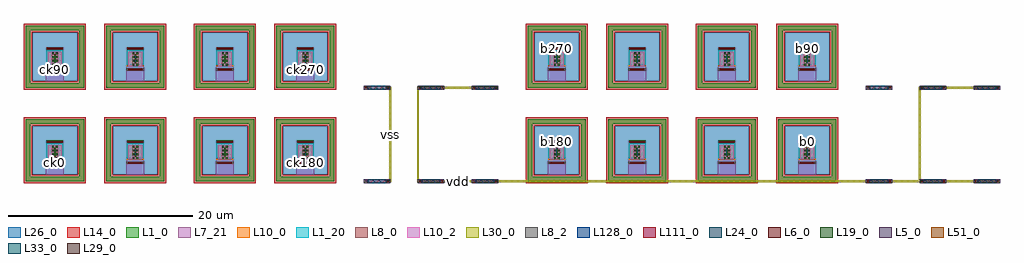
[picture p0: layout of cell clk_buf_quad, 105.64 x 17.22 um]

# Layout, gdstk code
from math import pi, radians
import gdstk
lib = gdstk.Library(unit=1e-6, precision=1e-09)
def R(c, l, rs):  # rectangles x0, y0, x1, y1
    for r in rs: c.add(gdstk.rectangle(r[:2], r[2:], *l))
def A(c, l, x, y, w, h, nx, ny, dx, dy):  # array of equal rectangles
    R(c, l, [(x+i*dx, y+j*dy, x+i*dx+w, y+j*dy+h) for i in range(nx) for j in range(ny)])
def P(c, l, *ps):  # polygons
    for p in ps: c.add(gdstk.Polygon(p, *l))
L1_0 = (1, 0)
L1_20 = (1, 20)
L5_0 = (5, 0)
L6_0 = (6, 0)
L7_21 = (7, 21)
L8_0 = (8, 0)
L8_2 = (8, 2)
L10_0 = (10, 0)
L10_2 = (10, 2)
L14_0 = (14, 0)
L19_0 = (19, 0)
L24_0 = (24, 0)
L26_0 = (26, 0)
L29_0 = (29, 0)
L30_0 = (30, 0)
L33_0 = (33, 0)
L51_0 = (51, 0)
L111_0 = (111, 0)
L128_0 = (128, 0)

npn13g2_base_cdns_675179 = lib.new_cell('npn13G2_base_CDNS_675179387640')
R(npn13g2_base_cdns_675179, L1_0, [(-0.925,-1.28,0.925,-0.98)])
P(npn13g2_base_cdns_675179, L1_20, [(-0.925,-0.98),(-0.925,0.62),(-0.445,0.62),(-0.235,0.83),(0.235,0.83),(0.445,0.62),(0.925,0.62),(0.925,-0.98)])
R(npn13g2_base_cdns_675179, L6_0, [(-0.825,-1.21,0.825,-1.05), (-0.76,1.06,0.76,1.22)])
P(npn13g2_base_cdns_675179, L7_21, [(-0.305,-0.94),(-0.555,-0.69),(-0.555,0.48),(-0.975,0.9),(-0.975,2.43),(0.975,2.43),(0.975,0.9),(0.555,0.48),(0.555,-0.69),(0.305,-0.94)])
R(npn13g2_base_cdns_675179, L8_0, [(-0.925,-1.25,0.925,-1.01), (-0.35,-0.77,0.35,0.785), (-0.975,1.02,0.975,1.26)])
R(npn13g2_base_cdns_675179, L10_0, [(-0.925,-0.77,0.925,0.785)])
A(npn13g2_base_cdns_675179, L19_0, -0.3, -0.7, 0.19, 0.19, 1, 4, 0, 0.41)
A(npn13g2_base_cdns_675179, L19_0, 0.11, -0.7, 0.19, 0.19, 1, 4, 0, 0.41)
R(npn13g2_base_cdns_675179, L33_0, [(-0.035,-0.45,0.035,0.45), (-0.035,-0.45,0.035,0.45)])
R(npn13g2_base_cdns_675179, L51_0, [(-0.085,-0.5,0.085,0.5)])
npn13g2_base_cdns_675179.add(gdstk.Label('npn13G2', (0.015,-2.31), layer=63, texttype=0))
npn13g2_base_cdns_675179.add(gdstk.Label('npn13G2_base', (0,0), layer=51, texttype=0))

npn13g2 = lib.new_cell('npn13G2')
P(npn13g2, L1_0, [(-3.15,-3.13),(-3.15,3.58),(2.65,3.58),(2.65,3.08),(-2.65,3.08),(-2.65,-2.63),(2.65,-2.63),(2.65,3.58),(3.15,3.58),(3.15,-3.13)])
R(npn13g2, L8_2, [(-0.965,-1.26,0.975,-1.02), (-0.915,1.01,0.925,1.25)])
R(npn13g2, L10_2, [(-0.745,-0.78,0.745,0.77)])
P(npn13g2, L14_0, [(-3.35,-3.33),(-3.35,3.78),(2.45,3.78),(2.45,2.88),(-2.45,2.88),(-2.45,-2.43),(2.45,-2.43),(2.45,3.78),(3.35,3.78),(3.35,-3.33)])
R(npn13g2, L26_0, [(-2.45,-2.43,2.45,2.88)])
npn13g2.add(gdstk.Reference(npn13g2_base_cdns_675179, (0,0), x_reflection=True))
npn13g2.add(gdstk.Label('Ae=1*1*0.07*0.90', (-1.977,-2.546), layer=63, texttype=0))
npn13g2.add(gdstk.Label('E', (0,-0.005), layer=63, texttype=0))
npn13g2.add(gdstk.Label('B', (0.005,-1.14), layer=63, texttype=0))
npn13g2.add(gdstk.Label('C', (0.005,1.13), layer=63, texttype=0))

xqi1a__clk_buf_quad_xqi1 = lib.new_cell('XQi1a__clk_buf_quad_XQi1a')
xqi1a__clk_buf_quad_xqi1.add(gdstk.Reference(npn13g2, (3.35,3.33)))
xqi1a__clk_buf_quad_xqi1.add(gdstk.Reference(npn13g2, (12.05,3.33)))

c_npn13g2_base_cdns_675179 = lib.new_cell('npn13G2_base_CDNS_675179387640$1')
R(c_npn13g2_base_cdns_675179, L1_0, [(-0.925,-1.28,0.925,-0.98)])
P(c_npn13g2_base_cdns_675179, L1_20, [(-0.925,-0.98),(-0.925,0.62),(-0.445,0.62),(-0.235,0.83),(0.235,0.83),(0.445,0.62),(0.925,0.62),(0.925,-0.98)])
R(c_npn13g2_base_cdns_675179, L6_0, [(-0.825,-1.21,0.825,-1.05), (-0.76,1.06,0.76,1.22)])
P(c_npn13g2_base_cdns_675179, L7_21, [(-0.305,-0.94),(-0.555,-0.69),(-0.555,0.48),(-0.975,0.9),(-0.975,2.43),(0.975,2.43),(0.975,0.9),(0.555,0.48),(0.555,-0.69),(0.305,-0.94)])
R(c_npn13g2_base_cdns_675179, L8_0, [(-0.925,-1.25,0.925,-1.01), (-0.35,-0.77,0.35,0.785), (-0.975,1.02,0.975,1.26)])
R(c_npn13g2_base_cdns_675179, L10_0, [(-0.925,-0.77,0.925,0.785)])
A(c_npn13g2_base_cdns_675179, L19_0, -0.3, -0.7, 0.19, 0.19, 1, 4, 0, 0.41)
A(c_npn13g2_base_cdns_675179, L19_0, 0.11, -0.7, 0.19, 0.19, 1, 4, 0, 0.41)
R(c_npn13g2_base_cdns_675179, L33_0, [(-0.035,-0.45,0.035,0.45), (-0.035,-0.45,0.035,0.45)])
R(c_npn13g2_base_cdns_675179, L51_0, [(-0.085,-0.5,0.085,0.5)])
c_npn13g2_base_cdns_675179.add(gdstk.Label('npn13G2', (0.015,-2.31), layer=63, texttype=0))
c_npn13g2_base_cdns_675179.add(gdstk.Label('npn13G2_base', (0,0), layer=51, texttype=0))

npn13g2_1 = lib.new_cell('npn13G2$1')
P(npn13g2_1, L1_0, [(-3.15,-3.13),(-3.15,3.58),(2.65,3.58),(2.65,3.08),(-2.65,3.08),(-2.65,-2.63),(2.65,-2.63),(2.65,3.58),(3.15,3.58),(3.15,-3.13)])
R(npn13g2_1, L8_2, [(-0.965,-1.26,0.975,-1.02), (-0.915,1.01,0.925,1.25)])
R(npn13g2_1, L10_2, [(-0.745,-0.78,0.745,0.77)])
P(npn13g2_1, L14_0, [(-3.35,-3.33),(-3.35,3.78),(2.45,3.78),(2.45,2.88),(-2.45,2.88),(-2.45,-2.43),(2.45,-2.43),(2.45,3.78),(3.35,3.78),(3.35,-3.33)])
R(npn13g2_1, L26_0, [(-2.45,-2.43,2.45,2.88)])
npn13g2_1.add(gdstk.Reference(c_npn13g2_base_cdns_675179, (0,0), x_reflection=True))
npn13g2_1.add(gdstk.Label('Ae=1*1*0.07*0.90', (-1.977,-2.546), layer=63, texttype=0))
npn13g2_1.add(gdstk.Label('E', (0,-0.005), layer=63, texttype=0))
npn13g2_1.add(gdstk.Label('B', (0.005,-1.14), layer=63, texttype=0))
npn13g2_1.add(gdstk.Label('C', (0.005,1.13), layer=63, texttype=0))

xqi1b__clk_buf_quad_xqi1 = lib.new_cell('XQi1b__clk_buf_quad_XQi1b')
xqi1b__clk_buf_quad_xqi1.add(gdstk.Reference(npn13g2_1, (3.35,3.33)))
xqi1b__clk_buf_quad_xqi1.add(gdstk.Reference(npn13g2_1, (12.05,3.33)))

clk_buf_quad_rti1__core = lib.new_cell('clk_buf_quad_Rti1__core')
R(clk_buf_quad_rti1__core, L5_0, [(0,0,0.42,0.42), (2.42,0,2.84,0.42)])
R(clk_buf_quad_rti1__core, L6_0, [(0.13,0.13,0.29,0.29), (2.55,0.13,2.71,0.29)])
R(clk_buf_quad_rti1__core, L8_0, [(0,0,0.42,0.42), (2.42,0,2.84,0.42)])
R(clk_buf_quad_rti1__core, L24_0, [(0.42,0,2.42,0.42)])
R(clk_buf_quad_rti1__core, L111_0, [(0.42,0,2.42,0.42)])
R(clk_buf_quad_rti1__core, L128_0, [(0.42,0,2.42,0.42)])

rti1__clk_buf_quad_rti1 = lib.new_cell('Rti1__clk_buf_quad_Rti1')
rti1__clk_buf_quad_rti1.add(gdstk.Reference(clk_buf_quad_rti1__core, (0,0)))

clk_buf_quad_rli1a__core = lib.new_cell('clk_buf_quad_RLi1a__core')
R(clk_buf_quad_rli1a__core, L5_0, [(0,0,0.42,0.42), (2.42,0,2.84,0.42)])
R(clk_buf_quad_rli1a__core, L6_0, [(0.13,0.13,0.29,0.29), (2.55,0.13,2.71,0.29)])
R(clk_buf_quad_rli1a__core, L8_0, [(0,0,0.42,0.42), (2.42,0,2.84,0.42)])
R(clk_buf_quad_rli1a__core, L24_0, [(0.42,0,2.42,0.42)])
R(clk_buf_quad_rli1a__core, L111_0, [(0.42,0,2.42,0.42)])
R(clk_buf_quad_rli1a__core, L128_0, [(0.42,0,2.42,0.42)])

rli1a__clk_buf_quad_rli1 = lib.new_cell('RLi1a__clk_buf_quad_RLi1a')
rli1a__clk_buf_quad_rli1.add(gdstk.Reference(clk_buf_quad_rli1a__core, (0,0)))

clk_buf_quad_rli1b__core = lib.new_cell('clk_buf_quad_RLi1b__core')
R(clk_buf_quad_rli1b__core, L5_0, [(0,0,0.42,0.42), (2.42,0,2.84,0.42)])
R(clk_buf_quad_rli1b__core, L6_0, [(0.13,0.13,0.29,0.29), (2.55,0.13,2.71,0.29)])
R(clk_buf_quad_rli1b__core, L8_0, [(0,0,0.42,0.42), (2.42,0,2.84,0.42)])
R(clk_buf_quad_rli1b__core, L24_0, [(0.42,0,2.42,0.42)])
R(clk_buf_quad_rli1b__core, L111_0, [(0.42,0,2.42,0.42)])
R(clk_buf_quad_rli1b__core, L128_0, [(0.42,0,2.42,0.42)])

rli1b__clk_buf_quad_rli1 = lib.new_cell('RLi1b__clk_buf_quad_RLi1b')
rli1b__clk_buf_quad_rli1.add(gdstk.Reference(clk_buf_quad_rli1b__core, (0,0)))

c_npn13g2_base_cdns_675179_ = lib.new_cell('npn13G2_base_CDNS_675179387640$2')
R(c_npn13g2_base_cdns_675179_, L1_0, [(-0.925,-1.28,0.925,-0.98)])
P(c_npn13g2_base_cdns_675179_, L1_20, [(-0.925,-0.98),(-0.925,0.62),(-0.445,0.62),(-0.235,0.83),(0.235,0.83),(0.445,0.62),(0.925,0.62),(0.925,-0.98)])
R(c_npn13g2_base_cdns_675179_, L6_0, [(-0.825,-1.21,0.825,-1.05), (-0.76,1.06,0.76,1.22)])
P(c_npn13g2_base_cdns_675179_, L7_21, [(-0.305,-0.94),(-0.555,-0.69),(-0.555,0.48),(-0.975,0.9),(-0.975,2.43),(0.975,2.43),(0.975,0.9),(0.555,0.48),(0.555,-0.69),(0.305,-0.94)])
R(c_npn13g2_base_cdns_675179_, L8_0, [(-0.925,-1.25,0.925,-1.01), (-0.35,-0.77,0.35,0.785), (-0.975,1.02,0.975,1.26)])
R(c_npn13g2_base_cdns_675179_, L10_0, [(-0.925,-0.77,0.925,0.785)])
A(c_npn13g2_base_cdns_675179_, L19_0, -0.3, -0.7, 0.19, 0.19, 1, 4, 0, 0.41)
A(c_npn13g2_base_cdns_675179_, L19_0, 0.11, -0.7, 0.19, 0.19, 1, 4, 0, 0.41)
R(c_npn13g2_base_cdns_675179_, L33_0, [(-0.035,-0.45,0.035,0.45), (-0.035,-0.45,0.035,0.45)])
R(c_npn13g2_base_cdns_675179_, L51_0, [(-0.085,-0.5,0.085,0.5)])
c_npn13g2_base_cdns_675179_.add(gdstk.Label('npn13G2', (0.015,-2.31), layer=63, texttype=0))
c_npn13g2_base_cdns_675179_.add(gdstk.Label('npn13G2_base', (0,0), layer=51, texttype=0))

npn13g2_2 = lib.new_cell('npn13G2$2')
P(npn13g2_2, L1_0, [(-3.15,-3.13),(-3.15,3.58),(2.65,3.58),(2.65,3.08),(-2.65,3.08),(-2.65,-2.63),(2.65,-2.63),(2.65,3.58),(3.15,3.58),(3.15,-3.13)])
R(npn13g2_2, L8_2, [(-0.965,-1.26,0.975,-1.02), (-0.915,1.01,0.925,1.25)])
R(npn13g2_2, L10_2, [(-0.745,-0.78,0.745,0.77)])
P(npn13g2_2, L14_0, [(-3.35,-3.33),(-3.35,3.78),(2.45,3.78),(2.45,2.88),(-2.45,2.88),(-2.45,-2.43),(2.45,-2.43),(2.45,3.78),(3.35,3.78),(3.35,-3.33)])
R(npn13g2_2, L26_0, [(-2.45,-2.43,2.45,2.88)])
npn13g2_2.add(gdstk.Reference(c_npn13g2_base_cdns_675179_, (0,0), x_reflection=True))
npn13g2_2.add(gdstk.Label('Ae=1*1*0.07*0.90', (-1.977,-2.546), layer=63, texttype=0))
npn13g2_2.add(gdstk.Label('E', (0,-0.005), layer=63, texttype=0))
npn13g2_2.add(gdstk.Label('B', (0.005,-1.14), layer=63, texttype=0))
npn13g2_2.add(gdstk.Label('C', (0.005,1.13), layer=63, texttype=0))

xqi2a__clk_buf_quad_xqi2 = lib.new_cell('XQi2a__clk_buf_quad_XQi2a')
xqi2a__clk_buf_quad_xqi2.add(gdstk.Reference(npn13g2_2, (3.35,3.33)))
xqi2a__clk_buf_quad_xqi2.add(gdstk.Reference(npn13g2_2, (12.05,3.33)))

c_npn13g2_base_cdns_675179__ = lib.new_cell('npn13G2_base_CDNS_675179387640$3')
R(c_npn13g2_base_cdns_675179__, L1_0, [(-0.925,-1.28,0.925,-0.98)])
P(c_npn13g2_base_cdns_675179__, L1_20, [(-0.925,-0.98),(-0.925,0.62),(-0.445,0.62),(-0.235,0.83),(0.235,0.83),(0.445,0.62),(0.925,0.62),(0.925,-0.98)])
R(c_npn13g2_base_cdns_675179__, L6_0, [(-0.825,-1.21,0.825,-1.05), (-0.76,1.06,0.76,1.22)])
P(c_npn13g2_base_cdns_675179__, L7_21, [(-0.305,-0.94),(-0.555,-0.69),(-0.555,0.48),(-0.975,0.9),(-0.975,2.43),(0.975,2.43),(0.975,0.9),(0.555,0.48),(0.555,-0.69),(0.305,-0.94)])
R(c_npn13g2_base_cdns_675179__, L8_0, [(-0.925,-1.25,0.925,-1.01), (-0.35,-0.77,0.35,0.785), (-0.975,1.02,0.975,1.26)])
R(c_npn13g2_base_cdns_675179__, L10_0, [(-0.925,-0.77,0.925,0.785)])
A(c_npn13g2_base_cdns_675179__, L19_0, -0.3, -0.7, 0.19, 0.19, 1, 4, 0, 0.41)
A(c_npn13g2_base_cdns_675179__, L19_0, 0.11, -0.7, 0.19, 0.19, 1, 4, 0, 0.41)
R(c_npn13g2_base_cdns_675179__, L33_0, [(-0.035,-0.45,0.035,0.45), (-0.035,-0.45,0.035,0.45)])
R(c_npn13g2_base_cdns_675179__, L51_0, [(-0.085,-0.5,0.085,0.5)])
c_npn13g2_base_cdns_675179__.add(gdstk.Label('npn13G2', (0.015,-2.31), layer=63, texttype=0))
c_npn13g2_base_cdns_675179__.add(gdstk.Label('npn13G2_base', (0,0), layer=51, texttype=0))

npn13g2_3 = lib.new_cell('npn13G2$3')
P(npn13g2_3, L1_0, [(-3.15,-3.13),(-3.15,3.58),(2.65,3.58),(2.65,3.08),(-2.65,3.08),(-2.65,-2.63),(2.65,-2.63),(2.65,3.58),(3.15,3.58),(3.15,-3.13)])
R(npn13g2_3, L8_2, [(-0.965,-1.26,0.975,-1.02), (-0.915,1.01,0.925,1.25)])
R(npn13g2_3, L10_2, [(-0.745,-0.78,0.745,0.77)])
P(npn13g2_3, L14_0, [(-3.35,-3.33),(-3.35,3.78),(2.45,3.78),(2.45,2.88),(-2.45,2.88),(-2.45,-2.43),(2.45,-2.43),(2.45,3.78),(3.35,3.78),(3.35,-3.33)])
R(npn13g2_3, L26_0, [(-2.45,-2.43,2.45,2.88)])
npn13g2_3.add(gdstk.Reference(c_npn13g2_base_cdns_675179__, (0,0), x_reflection=True))
npn13g2_3.add(gdstk.Label('Ae=1*1*0.07*0.90', (-1.977,-2.546), layer=63, texttype=0))
npn13g2_3.add(gdstk.Label('E', (0,-0.005), layer=63, texttype=0))
npn13g2_3.add(gdstk.Label('B', (0.005,-1.14), layer=63, texttype=0))
npn13g2_3.add(gdstk.Label('C', (0.005,1.13), layer=63, texttype=0))

xqi2b__clk_buf_quad_xqi2 = lib.new_cell('XQi2b__clk_buf_quad_XQi2b')
xqi2b__clk_buf_quad_xqi2.add(gdstk.Reference(npn13g2_3, (3.35,3.33)))
xqi2b__clk_buf_quad_xqi2.add(gdstk.Reference(npn13g2_3, (12.05,3.33)))

clk_buf_quad_rti2__core = lib.new_cell('clk_buf_quad_Rti2__core')
R(clk_buf_quad_rti2__core, L5_0, [(0,0,0.42,0.42), (2.42,0,2.84,0.42)])
R(clk_buf_quad_rti2__core, L6_0, [(0.13,0.13,0.29,0.29), (2.55,0.13,2.71,0.29)])
R(clk_buf_quad_rti2__core, L8_0, [(0,0,0.42,0.42), (2.42,0,2.84,0.42)])
R(clk_buf_quad_rti2__core, L24_0, [(0.42,0,2.42,0.42)])
R(clk_buf_quad_rti2__core, L111_0, [(0.42,0,2.42,0.42)])
R(clk_buf_quad_rti2__core, L128_0, [(0.42,0,2.42,0.42)])

rti2__clk_buf_quad_rti2 = lib.new_cell('Rti2__clk_buf_quad_Rti2')
rti2__clk_buf_quad_rti2.add(gdstk.Reference(clk_buf_quad_rti2__core, (0,0)))

clk_buf_quad_rli2a__core = lib.new_cell('clk_buf_quad_RLi2a__core')
R(clk_buf_quad_rli2a__core, L5_0, [(0,0,0.42,0.42), (2.42,0,2.84,0.42)])
R(clk_buf_quad_rli2a__core, L6_0, [(0.13,0.13,0.29,0.29), (2.55,0.13,2.71,0.29)])
R(clk_buf_quad_rli2a__core, L8_0, [(0,0,0.42,0.42), (2.42,0,2.84,0.42)])
R(clk_buf_quad_rli2a__core, L24_0, [(0.42,0,2.42,0.42)])
R(clk_buf_quad_rli2a__core, L111_0, [(0.42,0,2.42,0.42)])
R(clk_buf_quad_rli2a__core, L128_0, [(0.42,0,2.42,0.42)])

rli2a__clk_buf_quad_rli2 = lib.new_cell('RLi2a__clk_buf_quad_RLi2a')
rli2a__clk_buf_quad_rli2.add(gdstk.Reference(clk_buf_quad_rli2a__core, (0,0)))

clk_buf_quad_rli2b__core = lib.new_cell('clk_buf_quad_RLi2b__core')
R(clk_buf_quad_rli2b__core, L5_0, [(0,0,0.42,0.42), (2.42,0,2.84,0.42)])
R(clk_buf_quad_rli2b__core, L6_0, [(0.13,0.13,0.29,0.29), (2.55,0.13,2.71,0.29)])
R(clk_buf_quad_rli2b__core, L8_0, [(0,0,0.42,0.42), (2.42,0,2.84,0.42)])
R(clk_buf_quad_rli2b__core, L24_0, [(0.42,0,2.42,0.42)])
R(clk_buf_quad_rli2b__core, L111_0, [(0.42,0,2.42,0.42)])
R(clk_buf_quad_rli2b__core, L128_0, [(0.42,0,2.42,0.42)])

rli2b__clk_buf_quad_rli2 = lib.new_cell('RLi2b__clk_buf_quad_RLi2b')
rli2b__clk_buf_quad_rli2.add(gdstk.Reference(clk_buf_quad_rli2b__core, (0,0)))

c_npn13g2_base_cdns_675179___ = lib.new_cell('npn13G2_base_CDNS_675179387640$4')
R(c_npn13g2_base_cdns_675179___, L1_0, [(-0.925,-1.28,0.925,-0.98)])
P(c_npn13g2_base_cdns_675179___, L1_20, [(-0.925,-0.98),(-0.925,0.62),(-0.445,0.62),(-0.235,0.83),(0.235,0.83),(0.445,0.62),(0.925,0.62),(0.925,-0.98)])
R(c_npn13g2_base_cdns_675179___, L6_0, [(-0.825,-1.21,0.825,-1.05), (-0.76,1.06,0.76,1.22)])
P(c_npn13g2_base_cdns_675179___, L7_21, [(-0.305,-0.94),(-0.555,-0.69),(-0.555,0.48),(-0.975,0.9),(-0.975,2.43),(0.975,2.43),(0.975,0.9),(0.555,0.48),(0.555,-0.69),(0.305,-0.94)])
R(c_npn13g2_base_cdns_675179___, L8_0, [(-0.925,-1.25,0.925,-1.01), (-0.35,-0.77,0.35,0.785), (-0.975,1.02,0.975,1.26)])
R(c_npn13g2_base_cdns_675179___, L10_0, [(-0.925,-0.77,0.925,0.785)])
A(c_npn13g2_base_cdns_675179___, L19_0, -0.3, -0.7, 0.19, 0.19, 1, 4, 0, 0.41)
A(c_npn13g2_base_cdns_675179___, L19_0, 0.11, -0.7, 0.19, 0.19, 1, 4, 0, 0.41)
R(c_npn13g2_base_cdns_675179___, L33_0, [(-0.035,-0.45,0.035,0.45), (-0.035,-0.45,0.035,0.45)])
R(c_npn13g2_base_cdns_675179___, L51_0, [(-0.085,-0.5,0.085,0.5)])
c_npn13g2_base_cdns_675179___.add(gdstk.Label('npn13G2', (0.015,-2.31), layer=63, texttype=0))
c_npn13g2_base_cdns_675179___.add(gdstk.Label('npn13G2_base', (0,0), layer=51, texttype=0))

npn13g2_4 = lib.new_cell('npn13G2$4')
P(npn13g2_4, L1_0, [(-3.15,-3.13),(-3.15,3.58),(2.65,3.58),(2.65,3.08),(-2.65,3.08),(-2.65,-2.63),(2.65,-2.63),(2.65,3.58),(3.15,3.58),(3.15,-3.13)])
R(npn13g2_4, L8_2, [(-0.965,-1.26,0.975,-1.02), (-0.915,1.01,0.925,1.25)])
R(npn13g2_4, L10_2, [(-0.745,-0.78,0.745,0.77)])
P(npn13g2_4, L14_0, [(-3.35,-3.33),(-3.35,3.78),(2.45,3.78),(2.45,2.88),(-2.45,2.88),(-2.45,-2.43),(2.45,-2.43),(2.45,3.78),(3.35,3.78),(3.35,-3.33)])
R(npn13g2_4, L26_0, [(-2.45,-2.43,2.45,2.88)])
npn13g2_4.add(gdstk.Reference(c_npn13g2_base_cdns_675179___, (0,0), x_reflection=True))
npn13g2_4.add(gdstk.Label('Ae=1*1*0.07*0.90', (-1.977,-2.546), layer=63, texttype=0))
npn13g2_4.add(gdstk.Label('E', (0,-0.005), layer=63, texttype=0))
npn13g2_4.add(gdstk.Label('B', (0.005,-1.14), layer=63, texttype=0))
npn13g2_4.add(gdstk.Label('C', (0.005,1.13), layer=63, texttype=0))

xqq1a__clk_buf_quad_xqq1 = lib.new_cell('XQq1a__clk_buf_quad_XQq1a')
xqq1a__clk_buf_quad_xqq1.add(gdstk.Reference(npn13g2_4, (3.35,3.33)))
xqq1a__clk_buf_quad_xqq1.add(gdstk.Reference(npn13g2_4, (12.05,3.33)))

c_npn13g2_base_cdns_675179____ = lib.new_cell('npn13G2_base_CDNS_675179387640$5')
R(c_npn13g2_base_cdns_675179____, L1_0, [(-0.925,-1.28,0.925,-0.98)])
P(c_npn13g2_base_cdns_675179____, L1_20, [(-0.925,-0.98),(-0.925,0.62),(-0.445,0.62),(-0.235,0.83),(0.235,0.83),(0.445,0.62),(0.925,0.62),(0.925,-0.98)])
R(c_npn13g2_base_cdns_675179____, L6_0, [(-0.825,-1.21,0.825,-1.05), (-0.76,1.06,0.76,1.22)])
P(c_npn13g2_base_cdns_675179____, L7_21, [(-0.305,-0.94),(-0.555,-0.69),(-0.555,0.48),(-0.975,0.9),(-0.975,2.43),(0.975,2.43),(0.975,0.9),(0.555,0.48),(0.555,-0.69),(0.305,-0.94)])
R(c_npn13g2_base_cdns_675179____, L8_0, [(-0.925,-1.25,0.925,-1.01), (-0.35,-0.77,0.35,0.785), (-0.975,1.02,0.975,1.26)])
R(c_npn13g2_base_cdns_675179____, L10_0, [(-0.925,-0.77,0.925,0.785)])
A(c_npn13g2_base_cdns_675179____, L19_0, -0.3, -0.7, 0.19, 0.19, 1, 4, 0, 0.41)
A(c_npn13g2_base_cdns_675179____, L19_0, 0.11, -0.7, 0.19, 0.19, 1, 4, 0, 0.41)
R(c_npn13g2_base_cdns_675179____, L33_0, [(-0.035,-0.45,0.035,0.45), (-0.035,-0.45,0.035,0.45)])
R(c_npn13g2_base_cdns_675179____, L51_0, [(-0.085,-0.5,0.085,0.5)])
c_npn13g2_base_cdns_675179____.add(gdstk.Label('npn13G2', (0.015,-2.31), layer=63, texttype=0))
c_npn13g2_base_cdns_675179____.add(gdstk.Label('npn13G2_base', (0,0), layer=51, texttype=0))

npn13g2_5 = lib.new_cell('npn13G2$5')
P(npn13g2_5, L1_0, [(-3.15,-3.13),(-3.15,3.58),(2.65,3.58),(2.65,3.08),(-2.65,3.08),(-2.65,-2.63),(2.65,-2.63),(2.65,3.58),(3.15,3.58),(3.15,-3.13)])
R(npn13g2_5, L8_2, [(-0.965,-1.26,0.975,-1.02), (-0.915,1.01,0.925,1.25)])
R(npn13g2_5, L10_2, [(-0.745,-0.78,0.745,0.77)])
P(npn13g2_5, L14_0, [(-3.35,-3.33),(-3.35,3.78),(2.45,3.78),(2.45,2.88),(-2.45,2.88),(-2.45,-2.43),(2.45,-2.43),(2.45,3.78),(3.35,3.78),(3.35,-3.33)])
R(npn13g2_5, L26_0, [(-2.45,-2.43,2.45,2.88)])
npn13g2_5.add(gdstk.Reference(c_npn13g2_base_cdns_675179____, (0,0), x_reflection=True))
npn13g2_5.add(gdstk.Label('Ae=1*1*0.07*0.90', (-1.977,-2.546), layer=63, texttype=0))
npn13g2_5.add(gdstk.Label('E', (0,-0.005), layer=63, texttype=0))
npn13g2_5.add(gdstk.Label('B', (0.005,-1.14), layer=63, texttype=0))
npn13g2_5.add(gdstk.Label('C', (0.005,1.13), layer=63, texttype=0))

xqq1b__clk_buf_quad_xqq1 = lib.new_cell('XQq1b__clk_buf_quad_XQq1b')
xqq1b__clk_buf_quad_xqq1.add(gdstk.Reference(npn13g2_5, (3.35,3.33)))
xqq1b__clk_buf_quad_xqq1.add(gdstk.Reference(npn13g2_5, (12.05,3.33)))

clk_buf_quad_rtq1__core = lib.new_cell('clk_buf_quad_Rtq1__core')
R(clk_buf_quad_rtq1__core, L5_0, [(0,0,0.42,0.42), (2.42,0,2.84,0.42)])
R(clk_buf_quad_rtq1__core, L6_0, [(0.13,0.13,0.29,0.29), (2.55,0.13,2.71,0.29)])
R(clk_buf_quad_rtq1__core, L8_0, [(0,0,0.42,0.42), (2.42,0,2.84,0.42)])
R(clk_buf_quad_rtq1__core, L24_0, [(0.42,0,2.42,0.42)])
R(clk_buf_quad_rtq1__core, L111_0, [(0.42,0,2.42,0.42)])
R(clk_buf_quad_rtq1__core, L128_0, [(0.42,0,2.42,0.42)])

rtq1__clk_buf_quad_rtq1 = lib.new_cell('Rtq1__clk_buf_quad_Rtq1')
rtq1__clk_buf_quad_rtq1.add(gdstk.Reference(clk_buf_quad_rtq1__core, (0,0)))

clk_buf_quad_rlq1a__core = lib.new_cell('clk_buf_quad_RLq1a__core')
R(clk_buf_quad_rlq1a__core, L5_0, [(0,0,0.42,0.42), (2.42,0,2.84,0.42)])
R(clk_buf_quad_rlq1a__core, L6_0, [(0.13,0.13,0.29,0.29), (2.55,0.13,2.71,0.29)])
R(clk_buf_quad_rlq1a__core, L8_0, [(0,0,0.42,0.42), (2.42,0,2.84,0.42)])
R(clk_buf_quad_rlq1a__core, L24_0, [(0.42,0,2.42,0.42)])
R(clk_buf_quad_rlq1a__core, L111_0, [(0.42,0,2.42,0.42)])
R(clk_buf_quad_rlq1a__core, L128_0, [(0.42,0,2.42,0.42)])

rlq1a__clk_buf_quad_rlq1 = lib.new_cell('RLq1a__clk_buf_quad_RLq1a')
rlq1a__clk_buf_quad_rlq1.add(gdstk.Reference(clk_buf_quad_rlq1a__core, (0,0)))

clk_buf_quad_rlq1b__core = lib.new_cell('clk_buf_quad_RLq1b__core')
R(clk_buf_quad_rlq1b__core, L5_0, [(0,0,0.42,0.42), (2.42,0,2.84,0.42)])
R(clk_buf_quad_rlq1b__core, L6_0, [(0.13,0.13,0.29,0.29), (2.55,0.13,2.71,0.29)])
R(clk_buf_quad_rlq1b__core, L8_0, [(0,0,0.42,0.42), (2.42,0,2.84,0.42)])
R(clk_buf_quad_rlq1b__core, L24_0, [(0.42,0,2.42,0.42)])
R(clk_buf_quad_rlq1b__core, L111_0, [(0.42,0,2.42,0.42)])
R(clk_buf_quad_rlq1b__core, L128_0, [(0.42,0,2.42,0.42)])

rlq1b__clk_buf_quad_rlq1 = lib.new_cell('RLq1b__clk_buf_quad_RLq1b')
rlq1b__clk_buf_quad_rlq1.add(gdstk.Reference(clk_buf_quad_rlq1b__core, (0,0)))

c_npn13g2_base_cdns_675179_____ = lib.new_cell('npn13G2_base_CDNS_675179387640$6')
R(c_npn13g2_base_cdns_675179_____, L1_0, [(-0.925,-1.28,0.925,-0.98)])
P(c_npn13g2_base_cdns_675179_____, L1_20, [(-0.925,-0.98),(-0.925,0.62),(-0.445,0.62),(-0.235,0.83),(0.235,0.83),(0.445,0.62),(0.925,0.62),(0.925,-0.98)])
R(c_npn13g2_base_cdns_675179_____, L6_0, [(-0.825,-1.21,0.825,-1.05), (-0.76,1.06,0.76,1.22)])
P(c_npn13g2_base_cdns_675179_____, L7_21, [(-0.305,-0.94),(-0.555,-0.69),(-0.555,0.48),(-0.975,0.9),(-0.975,2.43),(0.975,2.43),(0.975,0.9),(0.555,0.48),(0.555,-0.69),(0.305,-0.94)])
R(c_npn13g2_base_cdns_675179_____, L8_0, [(-0.925,-1.25,0.925,-1.01), (-0.35,-0.77,0.35,0.785), (-0.975,1.02,0.975,1.26)])
R(c_npn13g2_base_cdns_675179_____, L10_0, [(-0.925,-0.77,0.925,0.785)])
A(c_npn13g2_base_cdns_675179_____, L19_0, -0.3, -0.7, 0.19, 0.19, 1, 4, 0, 0.41)
A(c_npn13g2_base_cdns_675179_____, L19_0, 0.11, -0.7, 0.19, 0.19, 1, 4, 0, 0.41)
R(c_npn13g2_base_cdns_675179_____, L33_0, [(-0.035,-0.45,0.035,0.45), (-0.035,-0.45,0.035,0.45)])
R(c_npn13g2_base_cdns_675179_____, L51_0, [(-0.085,-0.5,0.085,0.5)])
c_npn13g2_base_cdns_675179_____.add(gdstk.Label('npn13G2', (0.015,-2.31), layer=63, texttype=0))
c_npn13g2_base_cdns_675179_____.add(gdstk.Label('npn13G2_base', (0,0), layer=51, texttype=0))

npn13g2_6 = lib.new_cell('npn13G2$6')
P(npn13g2_6, L1_0, [(-3.15,-3.13),(-3.15,3.58),(2.65,3.58),(2.65,3.08),(-2.65,3.08),(-2.65,-2.63),(2.65,-2.63),(2.65,3.58),(3.15,3.58),(3.15,-3.13)])
R(npn13g2_6, L8_2, [(-0.965,-1.26,0.975,-1.02), (-0.915,1.01,0.925,1.25)])
R(npn13g2_6, L10_2, [(-0.745,-0.78,0.745,0.77)])
P(npn13g2_6, L14_0, [(-3.35,-3.33),(-3.35,3.78),(2.45,3.78),(2.45,2.88),(-2.45,2.88),(-2.45,-2.43),(2.45,-2.43),(2.45,3.78),(3.35,3.78),(3.35,-3.33)])
R(npn13g2_6, L26_0, [(-2.45,-2.43,2.45,2.88)])
npn13g2_6.add(gdstk.Reference(c_npn13g2_base_cdns_675179_____, (0,0), x_reflection=True))
npn13g2_6.add(gdstk.Label('Ae=1*1*0.07*0.90', (-1.977,-2.546), layer=63, texttype=0))
npn13g2_6.add(gdstk.Label('E', (0,-0.005), layer=63, texttype=0))
npn13g2_6.add(gdstk.Label('B', (0.005,-1.14), layer=63, texttype=0))
npn13g2_6.add(gdstk.Label('C', (0.005,1.13), layer=63, texttype=0))

xqq2a__clk_buf_quad_xqq2 = lib.new_cell('XQq2a__clk_buf_quad_XQq2a')
xqq2a__clk_buf_quad_xqq2.add(gdstk.Reference(npn13g2_6, (3.35,3.33)))
xqq2a__clk_buf_quad_xqq2.add(gdstk.Reference(npn13g2_6, (12.05,3.33)))

c_npn13g2_base_cdns_675179______ = lib.new_cell('npn13G2_base_CDNS_675179387640$7')
R(c_npn13g2_base_cdns_675179______, L1_0, [(-0.925,-1.28,0.925,-0.98)])
P(c_npn13g2_base_cdns_675179______, L1_20, [(-0.925,-0.98),(-0.925,0.62),(-0.445,0.62),(-0.235,0.83),(0.235,0.83),(0.445,0.62),(0.925,0.62),(0.925,-0.98)])
R(c_npn13g2_base_cdns_675179______, L6_0, [(-0.825,-1.21,0.825,-1.05), (-0.76,1.06,0.76,1.22)])
P(c_npn13g2_base_cdns_675179______, L7_21, [(-0.305,-0.94),(-0.555,-0.69),(-0.555,0.48),(-0.975,0.9),(-0.975,2.43),(0.975,2.43),(0.975,0.9),(0.555,0.48),(0.555,-0.69),(0.305,-0.94)])
R(c_npn13g2_base_cdns_675179______, L8_0, [(-0.925,-1.25,0.925,-1.01), (-0.35,-0.77,0.35,0.785), (-0.975,1.02,0.975,1.26)])
R(c_npn13g2_base_cdns_675179______, L10_0, [(-0.925,-0.77,0.925,0.785)])
A(c_npn13g2_base_cdns_675179______, L19_0, -0.3, -0.7, 0.19, 0.19, 1, 4, 0, 0.41)
A(c_npn13g2_base_cdns_675179______, L19_0, 0.11, -0.7, 0.19, 0.19, 1, 4, 0, 0.41)
R(c_npn13g2_base_cdns_675179______, L33_0, [(-0.035,-0.45,0.035,0.45), (-0.035,-0.45,0.035,0.45)])
R(c_npn13g2_base_cdns_675179______, L51_0, [(-0.085,-0.5,0.085,0.5)])
c_npn13g2_base_cdns_675179______.add(gdstk.Label('npn13G2', (0.015,-2.31), layer=63, texttype=0))
c_npn13g2_base_cdns_675179______.add(gdstk.Label('npn13G2_base', (0,0), layer=51, texttype=0))

npn13g2_7 = lib.new_cell('npn13G2$7')
P(npn13g2_7, L1_0, [(-3.15,-3.13),(-3.15,3.58),(2.65,3.58),(2.65,3.08),(-2.65,3.08),(-2.65,-2.63),(2.65,-2.63),(2.65,3.58),(3.15,3.58),(3.15,-3.13)])
R(npn13g2_7, L8_2, [(-0.965,-1.26,0.975,-1.02), (-0.915,1.01,0.925,1.25)])
R(npn13g2_7, L10_2, [(-0.745,-0.78,0.745,0.77)])
P(npn13g2_7, L14_0, [(-3.35,-3.33),(-3.35,3.78),(2.45,3.78),(2.45,2.88),(-2.45,2.88),(-2.45,-2.43),(2.45,-2.43),(2.45,3.78),(3.35,3.78),(3.35,-3.33)])
R(npn13g2_7, L26_0, [(-2.45,-2.43,2.45,2.88)])
npn13g2_7.add(gdstk.Reference(c_npn13g2_base_cdns_675179______, (0,0), x_reflection=True))
npn13g2_7.add(gdstk.Label('Ae=1*1*0.07*0.90', (-1.977,-2.546), layer=63, texttype=0))
npn13g2_7.add(gdstk.Label('E', (0,-0.005), layer=63, texttype=0))
npn13g2_7.add(gdstk.Label('B', (0.005,-1.14), layer=63, texttype=0))
npn13g2_7.add(gdstk.Label('C', (0.005,1.13), layer=63, texttype=0))

xqq2b__clk_buf_quad_xqq2 = lib.new_cell('XQq2b__clk_buf_quad_XQq2b')
xqq2b__clk_buf_quad_xqq2.add(gdstk.Reference(npn13g2_7, (3.35,3.33)))
xqq2b__clk_buf_quad_xqq2.add(gdstk.Reference(npn13g2_7, (12.05,3.33)))

clk_buf_quad_rtq2__core = lib.new_cell('clk_buf_quad_Rtq2__core')
R(clk_buf_quad_rtq2__core, L5_0, [(0,0,0.42,0.42), (2.42,0,2.84,0.42)])
R(clk_buf_quad_rtq2__core, L6_0, [(0.13,0.13,0.29,0.29), (2.55,0.13,2.71,0.29)])
R(clk_buf_quad_rtq2__core, L8_0, [(0,0,0.42,0.42), (2.42,0,2.84,0.42)])
R(clk_buf_quad_rtq2__core, L24_0, [(0.42,0,2.42,0.42)])
R(clk_buf_quad_rtq2__core, L111_0, [(0.42,0,2.42,0.42)])
R(clk_buf_quad_rtq2__core, L128_0, [(0.42,0,2.42,0.42)])

rtq2__clk_buf_quad_rtq2 = lib.new_cell('Rtq2__clk_buf_quad_Rtq2')
rtq2__clk_buf_quad_rtq2.add(gdstk.Reference(clk_buf_quad_rtq2__core, (0,0)))

clk_buf_quad_rlq2a__core = lib.new_cell('clk_buf_quad_RLq2a__core')
R(clk_buf_quad_rlq2a__core, L5_0, [(0,0,0.42,0.42), (2.42,0,2.84,0.42)])
R(clk_buf_quad_rlq2a__core, L6_0, [(0.13,0.13,0.29,0.29), (2.55,0.13,2.71,0.29)])
R(clk_buf_quad_rlq2a__core, L8_0, [(0,0,0.42,0.42), (2.42,0,2.84,0.42)])
R(clk_buf_quad_rlq2a__core, L24_0, [(0.42,0,2.42,0.42)])
R(clk_buf_quad_rlq2a__core, L111_0, [(0.42,0,2.42,0.42)])
R(clk_buf_quad_rlq2a__core, L128_0, [(0.42,0,2.42,0.42)])

rlq2a__clk_buf_quad_rlq2 = lib.new_cell('RLq2a__clk_buf_quad_RLq2a')
rlq2a__clk_buf_quad_rlq2.add(gdstk.Reference(clk_buf_quad_rlq2a__core, (0,0)))

clk_buf_quad_rlq2b__core = lib.new_cell('clk_buf_quad_RLq2b__core')
R(clk_buf_quad_rlq2b__core, L5_0, [(0,0,0.42,0.42), (2.42,0,2.84,0.42)])
R(clk_buf_quad_rlq2b__core, L6_0, [(0.13,0.13,0.29,0.29), (2.55,0.13,2.71,0.29)])
R(clk_buf_quad_rlq2b__core, L8_0, [(0,0,0.42,0.42), (2.42,0,2.84,0.42)])
R(clk_buf_quad_rlq2b__core, L24_0, [(0.42,0,2.42,0.42)])
R(clk_buf_quad_rlq2b__core, L111_0, [(0.42,0,2.42,0.42)])
R(clk_buf_quad_rlq2b__core, L128_0, [(0.42,0,2.42,0.42)])

rlq2b__clk_buf_quad_rlq2 = lib.new_cell('RLq2b__clk_buf_quad_RLq2b')
rlq2b__clk_buf_quad_rlq2.add(gdstk.Reference(clk_buf_quad_rlq2b__core, (0,0)))

clk_buf_quad = lib.new_cell('clk_buf_quad')
R(clk_buf_quad, L8_0, [(39.22,0,39.64,0.42), (42.64,0,43.06,0.42), (42.64,0,43.06,0.42), (50.9,0,51.32,0.42), (50.9,0,51.32,0.42), (96.96,0,97.38,0.42), (96.96,0,97.38,0.42), (96.96,0,97.38,0.42), (105.22,0,105.64,0.42), (39.22,10.11,39.64,10.53), (42.64,10.11,43.06,10.53), (42.64,10.11,43.06,10.53), (50.9,10.11,51.32,10.53), (96.96,10.11,97.38,10.53), (96.96,10.11,97.38,10.53), (105.22,10.11,105.64,10.53)])
R(clk_buf_quad, L10_0, [(39.22,0,39.64,0.42), (39.22,0,39.64,0.42), (42.64,0,43.06,0.42), (42.64,0,43.06,0.42), (42.64,0,43.06,0.42), (42.64,0,43.06,0.42), (50.9,0,51.32,0.42), (50.9,0,51.32,0.42), (50.9,0,51.32,0.42), (50.9,0,51.32,0.42), (96.96,0,97.38,0.42), (96.96,0,97.38,0.42), (96.96,0,97.38,0.42), (96.96,0,97.38,0.42), (96.96,0,97.38,0.42), (96.96,0,97.38,0.42), (105.22,0,105.64,0.42), (105.22,0,105.64,0.42), (39.22,10.11,39.64,10.53), (39.22,10.11,39.64,10.53), (42.64,10.11,43.06,10.53), (42.64,10.11,43.06,10.53), (42.64,10.11,43.06,10.53), (42.64,10.11,43.06,10.53), (50.9,10.11,51.32,10.53), (50.9,10.11,51.32,10.53), (96.96,10.11,97.38,10.53), (96.96,10.11,97.38,10.53), (96.96,10.11,97.38,10.53), (96.96,10.11,97.38,10.53), (105.22,10.11,105.64,10.53), (105.22,10.11,105.64,10.53)])
R(clk_buf_quad, L19_0, [(39.335,0.115,39.525,0.305), (42.755,0.115,42.945,0.305), (42.755,0.115,42.945,0.305), (51.015,0.115,51.205,0.305), (51.015,0.115,51.205,0.305), (97.075,0.115,97.265,0.305), (97.075,0.115,97.265,0.305), (97.075,0.115,97.265,0.305), (105.335,0.115,105.525,0.305), (39.335,10.225,39.525,10.415), (42.755,10.225,42.945,10.415), (42.755,10.225,42.945,10.415), (51.015,10.225,51.205,10.415), (97.075,10.225,97.265,10.415), (97.075,10.225,97.265,10.415), (105.335,10.225,105.525,10.415)])
R(clk_buf_quad, L29_0, [(39.335,0.115,39.525,0.305), (42.755,0.115,42.945,0.305), (42.755,0.115,42.945,0.305), (51.015,0.115,51.205,0.305), (51.015,0.115,51.205,0.305), (97.075,0.115,97.265,0.305), (97.075,0.115,97.265,0.305), (97.075,0.115,97.265,0.305), (105.335,0.115,105.525,0.305), (39.335,10.225,39.525,10.415), (42.755,10.225,42.945,10.415), (42.755,10.225,42.945,10.415), (51.015,10.225,51.205,10.415), (97.075,10.225,97.265,10.415), (97.075,10.225,97.265,10.415), (105.335,10.225,105.525,10.415)])
R(clk_buf_quad, L30_0, [(39.22,0,39.64,0.42), (42.64,0,43.06,0.42), (42.64,0,43.06,0.42), (50.9,0,51.32,0.42), (50.9,0,51.32,0.42), (96.96,0,97.38,0.42), (96.96,0,97.38,0.42), (96.96,0,97.38,0.42), (105.22,0,105.64,0.42), (39.22,10.11,39.64,10.53), (42.64,10.11,43.06,10.53), (42.64,10.11,43.06,10.53), (50.9,10.11,51.32,10.53), (96.96,10.11,97.38,10.53), (96.96,10.11,97.38,10.53), (105.22,10.11,105.64,10.53)])
clk_buf_quad.add(gdstk.FlexPath([(42.85,0.21),(51.11,0.21)], 0.2, ends="flush", simple_path=True, layer=30, datatype=0))  # L30_0
clk_buf_quad.add(gdstk.FlexPath([(42.85,10.32),(51.11,10.32)], 0.2, ends="flush", simple_path=True, layer=30, datatype=0))  # L30_0
clk_buf_quad.add(gdstk.FlexPath([(97.17,0.21),(105.43,0.21)], 0.2, ends="flush", simple_path=True, layer=30, datatype=0))  # L30_0
clk_buf_quad.add(gdstk.FlexPath([(97.17,10.32),(105.43,10.32)], 0.2, ends="flush", simple_path=True, layer=30, datatype=0))  # L30_0
clk_buf_quad.add(gdstk.FlexPath([(42.85,0.21),(42.65,0.21),(42.65,10.32),(42.85,10.32)], 0.2, ends="flush", simple_path=True, layer=30, datatype=0))  # L30_0
clk_buf_quad.add(gdstk.FlexPath([(97.17,0.21),(96.97,0.21),(96.97,10.32),(97.17,10.32)], 0.2, ends="flush", simple_path=True, layer=30, datatype=0))  # L30_0
clk_buf_quad.add(gdstk.FlexPath([(51.11,0.21),(97.17,0.21)], 0.2, ends="flush", simple_path=True, layer=30, datatype=0))  # L30_0
clk_buf_quad.add(gdstk.FlexPath([(39.43,0.21),(39.63,0.21),(39.63,10.32),(39.43,10.32)], 0.2, ends="flush", simple_path=True, layer=30, datatype=0))  # L30_0
clk_buf_quad.add(gdstk.Reference(xqi1a__clk_buf_quad_xqi1, (0,0)))
clk_buf_quad.add(gdstk.Reference(xqi1b__clk_buf_quad_xqi1, (33.8,0), rotation=pi, x_reflection=True))
clk_buf_quad.add(gdstk.Reference(rti1__clk_buf_quad_rti1, (36.8,0)))
clk_buf_quad.add(gdstk.Reference(rli1a__clk_buf_quad_rli1, (42.64,0)))
clk_buf_quad.add(gdstk.Reference(rli1b__clk_buf_quad_rli1, (51.32,0), rotation=pi, x_reflection=True))
clk_buf_quad.add(gdstk.Reference(xqi2a__clk_buf_quad_xqi2, (54.32,0)))
clk_buf_quad.add(gdstk.Reference(xqi2b__clk_buf_quad_xqi2, (88.12,0), rotation=pi, x_reflection=True))
clk_buf_quad.add(gdstk.Reference(rti2__clk_buf_quad_rti2, (91.12,0)))
clk_buf_quad.add(gdstk.Reference(rli2a__clk_buf_quad_rli2, (96.96,0)))
clk_buf_quad.add(gdstk.Reference(rli2b__clk_buf_quad_rli2, (105.64,0), rotation=pi, x_reflection=True))
clk_buf_quad.add(gdstk.Reference(xqq1a__clk_buf_quad_xqq1, (0,10.11)))
clk_buf_quad.add(gdstk.Reference(xqq1b__clk_buf_quad_xqq1, (33.8,10.11), rotation=pi, x_reflection=True))
clk_buf_quad.add(gdstk.Reference(rtq1__clk_buf_quad_rtq1, (36.8,10.11)))
clk_buf_quad.add(gdstk.Reference(rlq1a__clk_buf_quad_rlq1, (42.64,10.11)))
clk_buf_quad.add(gdstk.Reference(rlq1b__clk_buf_quad_rlq1, (51.32,10.11), rotation=pi, x_reflection=True))
clk_buf_quad.add(gdstk.Reference(xqq2a__clk_buf_quad_xqq2, (54.32,10.11)))
clk_buf_quad.add(gdstk.Reference(xqq2b__clk_buf_quad_xqq2, (88.12,10.11), rotation=pi, x_reflection=True))
clk_buf_quad.add(gdstk.Reference(rtq2__clk_buf_quad_rtq2, (91.12,10.11)))
clk_buf_quad.add(gdstk.Reference(rlq2a__clk_buf_quad_rlq2, (96.96,10.11)))
clk_buf_quad.add(gdstk.Reference(rlq2b__clk_buf_quad_rlq2, (105.64,10.11), rotation=pi, x_reflection=True))
clk_buf_quad.add(gdstk.Label('vdd', (46.98,0.21), layer=30, texttype=25))
clk_buf_quad.add(gdstk.Label('vss', (39.63,5.265), layer=30, texttype=25))
clk_buf_quad.add(gdstk.Label('ck0', (3.355,2.19), layer=8, texttype=25))
clk_buf_quad.add(gdstk.Label('ck180', (30.445,2.19), layer=8, texttype=25))
clk_buf_quad.add(gdstk.Label('ck90', (3.355,12.3), layer=8, texttype=25))
clk_buf_quad.add(gdstk.Label('ck270', (30.445,12.3), layer=8, texttype=25))
clk_buf_quad.add(gdstk.Label('b0', (84.765,4.46), layer=8, texttype=25))
clk_buf_quad.add(gdstk.Label('b180', (57.675,4.46), layer=8, texttype=25))
clk_buf_quad.add(gdstk.Label('b90', (84.765,14.57), layer=8, texttype=25))
clk_buf_quad.add(gdstk.Label('b270', (57.675,14.57), layer=8, texttype=25))

lib.write_gds('clk_buf_quad.gds')
